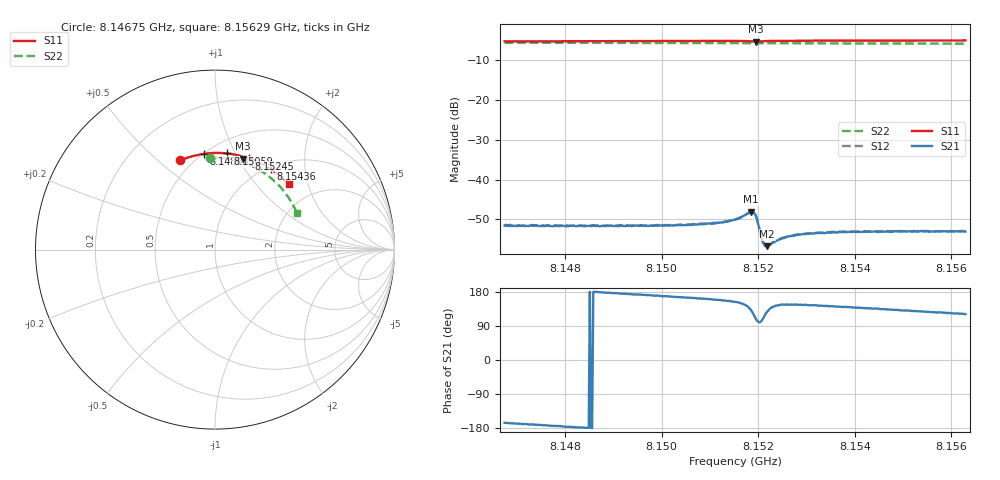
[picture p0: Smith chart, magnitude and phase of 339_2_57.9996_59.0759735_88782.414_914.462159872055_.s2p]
#  HZ  S  RI  R  50.00
! Rohde & Schwarz Vector Network Analyzer
! Rohde-Schwarz,ZNB20-2Port,1311601062101988,3.16
! Created: UTC 3/21/2024, 1:05:26 AM
! freq[Hz]  re:S11  im:S11  re:S21  im:S21  re:S12  im:S12  re:S22  im:S22
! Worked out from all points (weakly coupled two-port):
!   401 points, 8.14675 GHz to 8.15629 GHz, reference 50 ohm
!   highest |S21| = -48.01 dB at 8.15185 GHz (marker M1); lowest = -56.7 dB at 8.15219 GHz (marker M2)
!   lowest |S11| = -5.5 dB at 8.15195 GHz (marker M3), VSWR 3.26, Z = 37.2 + j52.4 ohm
!   |S11| at or under -10 dB: nowhere
!   |S22| runs from -6.0 to -5.8 dB; largest |S21 - S12| = 0.00011
!   S11 on the Smith chart (normalised r, x): 8.14675 GHz: 0.43, +0.60; 8.14868 GHz: 0.50, +0.75; 8.15059 GHz: 0.61, +0.93; 8.15245 GHz: 0.77, +1.11; 8.15436 GHz: 1.04, +1.32; 8.15629 GHz: 1.46, +1.52
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8.146752e9  -0.193 0.4973  -0.00257 -0.000647  -0.0026 -0.000626  -0.026 0.513
8.148349e9  -0.0863 0.5293  -0.00261 -8.86e-05  -0.00267 -4.56e-05  0.0778 0.5058
8.148683e9  -0.0633 0.5331  -0.00262 4.4e-05  -0.00266 9.07e-05  0.0993 0.5016
8.149947e9  0.0243 0.5385  -0.0026 0.000479  -0.00261 0.000521  0.1771 0.478
8.15059e9  0.0692 0.5357  -0.0026 0.000738  -0.00264 0.00076  0.2151 0.4612
8.151162e9  0.1092 0.5297  -0.00269 0.00104  -0.00266 0.00107  0.2472 0.4438
8.15152e9  0.1345 0.5238  -0.00281 0.00142  -0.00281 0.00146  0.2666 0.4317
8.151854e9  0.1576 0.5111  -0.00261 0.003  -0.00259 0.00306  0.284 0.4196
8.151901e9  0.1586 0.5079  -0.00203 0.00336  -0.00201 0.00341  0.2864 0.4177
8.151949e9  0.1577 0.5064  -0.00119 0.00335  -0.00115 0.00339  0.2888 0.416
8.151997e9  0.1573 0.5074  -0.000543 0.00278  -0.000508 0.0028  0.291 0.4144
8.152044e9  0.159 0.5097  -0.00038 0.00211  -0.000345 0.00212  0.2934 0.4126
8.152092e9  0.1625 0.5113  -0.000511 0.00159  -0.000484 0.00161  0.2958 0.4111
8.15214e9  0.1662 0.5118  -0.000729 0.00133  -0.000682 0.0013  0.2985 0.4091
8.152187e9  0.1702 0.5119  -0.000893 0.00116  -0.000945 0.00118  0.3009 0.4073
8.15245e9  0.19 0.5076  -0.00149 0.00102  -0.00146 0.00107  0.3139 0.3968
8.152807e9  0.2142 0.4992  -0.00169 0.00114  -0.00169 0.00116  0.331 0.382
8.153117e9  0.2345 0.4907  -0.00172 0.00123  -0.00171 0.00128  0.3452 0.3685
8.153737e9  0.273 0.4715  -0.0017 0.00142  -0.00169 0.00145  0.372 0.34
8.154357e9  0.3098 0.4493  -0.00159 0.00156  -0.00159 0.00158  0.3962 0.3096
8.154714e9  0.33 0.4351  -0.00151 0.00161  -0.00153 0.00167  0.409 0.2914
8.156288e9  0.4106 0.3632  -0.00115 0.00192  -0.00115 0.00194  0.4551 0.2054
